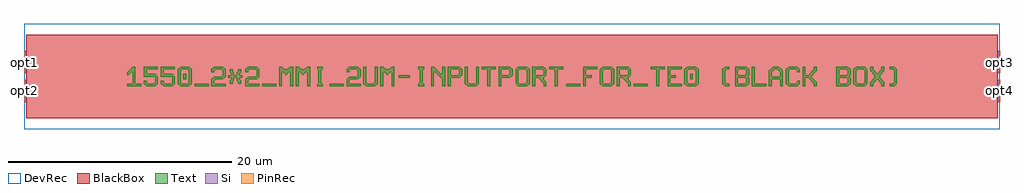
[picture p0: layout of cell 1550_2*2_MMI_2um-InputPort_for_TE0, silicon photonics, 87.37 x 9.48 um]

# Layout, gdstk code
import gdstk
lib = gdstk.Library(unit=1e-6, precision=1e-09)
def R(c, l, rs):  # rectangles x0, y0, x1, y1
    for r in rs: c.add(gdstk.rectangle(r[:2], r[2:], *l))
def A(c, l, x, y, w, h, nx, ny, dx, dy):  # array of equal rectangles
    R(c, l, [(x+i*dx, y+j*dy, x+i*dx+w, y+j*dy+h) for i in range(nx) for j in range(ny)])
def P(c, l, *ps):  # polygons
    for p in ps: c.add(gdstk.Polygon(p, *l))
Si = (1, 0)
PinRec = (1, 10)
Text = (10, 0)
DevRec = (68, 0)
BlackBox = (998, 0)

text = lib.new_cell('TEXT')
A(text, Text, 6.048, 0, 1.26, 0.252, 3, 1, 6.048, 0)
R(text, Text, [(39.312,0,40.572,0.252), (45.36,0,46.62,0.252), (5.04,0.63,5.292,1.134), (50.4,0.63,50.652,1.134), (24.318,0.756,25.326,1.008)])
P(text, Text, [(0,0),(0,0.252),(0.504,0.252),(0.504,1.26),(0.378,1.26),(0.126,1.008),(0,1.008),(0,1.26),(0.504,1.764),(0.756,1.764),(0.756,0.252),(1.26,0.252),(1.26,0)],
  [(1.764,0),(1.512,0.252),(1.512,0.504),(1.764,0.504),(1.764,0.378),(1.89,0.252),(2.394,0.252),(2.52,0.378),(2.52,0.756),(2.394,0.882),(1.512,0.882),(1.512,1.764),(2.772,1.764),(2.772,1.512),(1.764,1.512),(1.764,1.134),(2.52,1.134),(2.772,0.882),(2.772,0.252),(2.52,0)],
  [(3.276,0),(3.024,0.252),(3.024,0.504),(3.276,0.504),(3.276,0.378),(3.402,0.252),(3.906,0.252),(4.032,0.378),(4.032,0.756),(3.906,0.882),(3.024,0.882),(3.024,1.764),(4.284,1.764),(4.284,1.512),(3.276,1.512),(3.276,1.134),(4.032,1.134),(4.284,0.882),(4.284,0.252),(4.032,0)],
  [(4.788,0),(4.536,0.252),(4.536,1.512),(4.788,1.764),(5.544,1.764),(5.796,1.512),(4.914,1.512),(4.788,1.386),(4.788,0.378),(4.914,0.252),(5.418,0.252),(5.544,0.378),(5.544,1.386),(5.418,1.512),(5.796,1.512),(5.796,0.252),(5.544,0)],
  [(7.56,0),(7.56,0.63),(7.812,0.882),(8.442,0.882),(8.568,1.008),(8.568,1.386),(8.442,1.512),(7.938,1.512),(7.812,1.386),(7.812,1.26),(7.56,1.26),(7.56,1.512),(7.812,1.764),(8.568,1.764),(8.82,1.512),(8.82,0.882),(8.568,0.63),(7.938,0.63),(7.812,0.504),(7.812,0.252),(8.82,0.252),(8.82,0)],
  [(9.198,0.252),(9.198,0.504),(9.324,0.63),(9.324,0.756),(9.072,0.756),(9.072,1.008),(9.324,1.008),(9.324,1.134),(9.198,1.26),(9.198,1.512),(9.45,1.512),(9.45,1.386),(9.576,1.26),(9.576,1.008),(9.828,1.008),(9.828,1.26),(9.954,1.386),(9.954,1.512),(10.206,1.512),(10.206,1.26),(10.08,1.134),(10.08,1.008),(10.332,1.008),(10.332,0.756),(10.08,0.756),(10.08,0.63),(10.206,0.504),(10.206,0.252),(9.954,0.252),(9.954,0.378),(9.828,0.504),(9.828,0.756),(9.576,0.756),(9.576,0.504),(9.45,0.378),(9.45,0.252)],
  [(10.584,0),(10.584,0.63),(10.836,0.882),(11.466,0.882),(11.592,1.008),(11.592,1.386),(11.466,1.512),(10.962,1.512),(10.836,1.386),(10.836,1.26),(10.584,1.26),(10.584,1.512),(10.836,1.764),(11.592,1.764),(11.844,1.512),(11.844,0.882),(11.592,0.63),(10.962,0.63),(10.836,0.504),(10.836,0.252),(11.844,0.252),(11.844,0)],
  [(13.608,0),(13.608,1.764),(13.86,1.764),(14.112,1.512),(14.364,1.512),(14.616,1.764),(14.868,1.764),(14.868,0),(14.616,0),(14.616,1.26),(14.49,1.26),(14.238,1.008),(13.986,1.26),(13.86,1.26),(13.86,0)],
  [(15.12,0),(15.12,1.764),(15.372,1.764),(15.624,1.512),(15.876,1.512),(16.128,1.764),(16.38,1.764),(16.38,0),(16.128,0),(16.128,1.26),(16.002,1.26),(15.75,1.008),(15.498,1.26),(15.372,1.26),(15.372,0)],
  [(17.01,0),(17.01,0.252),(17.136,0.252),(17.136,1.512),(17.01,1.512),(17.01,1.764),(17.514,1.764),(17.514,1.512),(17.388,1.512),(17.388,0.252),(17.514,0.252),(17.514,0)],
  [(19.656,0),(19.656,0.63),(19.908,0.882),(20.538,0.882),(20.664,1.008),(20.664,1.386),(20.538,1.512),(20.034,1.512),(19.908,1.386),(19.908,1.26),(19.656,1.26),(19.656,1.512),(19.908,1.764),(20.664,1.764),(20.916,1.512),(20.916,0.882),(20.664,0.63),(20.034,0.63),(19.908,0.504),(19.908,0.252),(20.916,0.252),(20.916,0)],
  [(21.42,0),(21.168,0.252),(21.168,1.764),(21.42,1.764),(21.42,0.378),(21.546,0.252),(22.05,0.252),(22.176,0.378),(22.176,1.764),(22.428,1.764),(22.428,0.252),(22.176,0)],
  [(22.68,0),(22.68,1.764),(22.932,1.764),(23.184,1.512),(23.436,1.512),(23.688,1.764),(23.94,1.764),(23.94,0),(23.688,0),(23.688,1.26),(23.562,1.26),(23.31,1.008),(23.058,1.26),(22.932,1.26),(22.932,0)],
  [(26.082,0),(26.082,0.252),(26.208,0.252),(26.208,1.512),(26.082,1.512),(26.082,1.764),(26.586,1.764),(26.586,1.512),(26.46,1.512),(26.46,0.252),(26.586,0.252),(26.586,0)],
  [(27.216,0),(27.216,1.764),(27.468,1.764),(28.098,1.134),(28.224,1.134),(28.224,1.764),(28.476,1.764),(28.476,0),(28.224,0),(28.224,0.63),(27.594,1.26),(27.468,1.26),(27.468,0)],
  [(28.728,0),(28.728,1.764),(29.736,1.764),(29.988,1.512),(29.988,1.008),(29.736,0.756),(28.98,0.756),(28.98,1.008),(29.61,1.008),(29.736,1.134),(29.736,1.386),(29.61,1.512),(28.98,1.512),(28.98,0)],
  [(30.492,0),(30.24,0.252),(30.24,1.764),(30.492,1.764),(30.492,0.378),(30.618,0.252),(31.122,0.252),(31.248,0.378),(31.248,1.764),(31.5,1.764),(31.5,0.252),(31.248,0)],
  [(32.256,0),(32.256,1.512),(31.752,1.512),(31.752,1.764),(33.012,1.764),(33.012,1.512),(32.508,1.512),(32.508,0)],
  [(33.264,0),(33.264,1.764),(34.272,1.764),(34.524,1.512),(34.524,1.008),(34.272,0.756),(33.516,0.756),(33.516,1.008),(34.146,1.008),(34.272,1.134),(34.272,1.386),(34.146,1.512),(33.516,1.512),(33.516,0)],
  [(35.028,0),(34.776,0.252),(34.776,1.512),(35.028,1.764),(35.784,1.764),(36.036,1.512),(36.036,0.882),(35.784,0.882),(35.784,1.386),(35.658,1.512),(35.154,1.512),(35.028,1.386),(35.028,0.378),(35.154,0.252),(35.658,0.252),(35.784,0.378),(35.784,0.882),(36.036,0.882),(36.036,0.252),(35.784,0)],
  [(36.288,0),(36.288,1.764),(37.296,1.764),(37.548,1.512),(36.54,1.512),(36.54,1.008),(37.17,1.008),(37.296,1.134),(37.296,1.386),(37.17,1.512),(37.548,1.512),(37.548,1.008),(37.296,0.756),(37.296,0.63),(37.548,0.378),(37.548,0),(37.296,0),(37.296,0.252),(36.792,0.756),(36.54,0.756),(36.54,0)],
  [(38.304,0),(38.304,1.512),(37.8,1.512),(37.8,1.764),(39.06,1.764),(39.06,1.512),(38.556,1.512),(38.556,0)],
  [(40.824,0),(40.824,1.764),(42.084,1.764),(42.084,1.512),(41.076,1.512),(41.076,1.008),(41.58,1.008),(41.58,0.756),(41.076,0.756),(41.076,0)],
  [(42.588,0),(42.336,0.252),(42.336,1.512),(42.588,1.764),(43.344,1.764),(43.596,1.512),(43.596,0.882),(43.344,0.882),(43.344,1.386),(43.218,1.512),(42.714,1.512),(42.588,1.386),(42.588,0.378),(42.714,0.252),(43.218,0.252),(43.344,0.378),(43.344,0.882),(43.596,0.882),(43.596,0.252),(43.344,0)],
  [(43.848,0),(43.848,1.764),(44.856,1.764),(45.108,1.512),(44.1,1.512),(44.1,1.008),(44.73,1.008),(44.856,1.134),(44.856,1.386),(44.73,1.512),(45.108,1.512),(45.108,1.008),(44.856,0.756),(44.856,0.63),(45.108,0.378),(45.108,0),(44.856,0),(44.856,0.252),(44.352,0.756),(44.1,0.756),(44.1,0)],
  [(47.376,0),(47.376,1.512),(46.872,1.512),(46.872,1.764),(48.132,1.764),(48.132,1.512),(47.628,1.512),(47.628,0)],
  [(48.384,0),(48.384,1.764),(49.644,1.764),(49.644,1.512),(48.636,1.512),(48.636,1.008),(49.14,1.008),(49.14,0.756),(48.636,0.756),(48.636,0.252),(49.644,0.252),(49.644,0)],
  [(50.148,0),(49.896,0.252),(49.896,1.512),(50.148,1.764),(50.904,1.764),(51.156,1.512),(50.274,1.512),(50.148,1.386),(50.148,0.378),(50.274,0.252),(50.778,0.252),(50.904,0.378),(50.904,1.386),(50.778,1.512),(51.156,1.512),(51.156,0.252),(50.904,0)],
  [(53.55,0),(53.298,0.252),(53.298,1.512),(53.55,1.764),(53.928,1.764),(53.928,1.512),(53.676,1.512),(53.55,1.386),(53.55,0.378),(53.676,0.252),(53.928,0.252),(53.928,0)],
  [(54.432,0),(54.432,1.764),(55.44,1.764),(55.692,1.512),(54.684,1.512),(54.684,1.008),(55.314,1.008),(55.44,1.134),(55.44,1.386),(55.314,1.512),(55.692,1.512),(55.692,1.008),(55.566,0.882),(55.692,0.756),(54.684,0.756),(54.684,0.252),(55.314,0.252),(55.44,0.378),(55.44,0.63),(55.314,0.756),(55.692,0.756),(55.692,0.252),(55.44,0)],
  [(55.944,0),(55.944,1.764),(56.196,1.764),(56.196,0.252),(57.204,0.252),(57.204,0)],
  [(57.456,0),(57.456,1.386),(57.834,1.764),(58.338,1.764),(58.59,1.512),(57.96,1.512),(57.708,1.26),(57.708,0.882),(58.464,0.882),(58.464,1.26),(58.212,1.512),(58.59,1.512),(58.716,1.386),(58.716,0),(58.464,0),(58.464,0.63),(57.708,0.63),(57.708,0)],
  [(59.22,0),(58.968,0.252),(58.968,1.512),(59.22,1.764),(59.976,1.764),(60.228,1.512),(60.228,1.26),(59.976,1.26),(59.976,1.386),(59.85,1.512),(59.346,1.512),(59.22,1.386),(59.22,0.378),(59.346,0.252),(59.85,0.252),(59.976,0.378),(59.976,0.504),(60.228,0.504),(60.228,0.252),(59.976,0)],
  [(60.48,0),(60.48,1.764),(60.732,1.764),(60.732,1.008),(60.984,1.008),(61.488,1.512),(61.488,1.764),(61.74,1.764),(61.74,1.386),(61.236,0.882),(61.74,0.378),(61.74,0),(61.488,0),(61.488,0.252),(60.984,0.756),(60.732,0.756),(60.732,0)],
  [(63.504,0),(63.504,1.764),(64.512,1.764),(64.764,1.512),(63.756,1.512),(63.756,1.008),(64.386,1.008),(64.512,1.134),(64.512,1.386),(64.386,1.512),(64.764,1.512),(64.764,1.008),(64.638,0.882),(64.764,0.756),(63.756,0.756),(63.756,0.252),(64.386,0.252),(64.512,0.378),(64.512,0.63),(64.386,0.756),(64.764,0.756),(64.764,0.252),(64.512,0)],
  [(65.268,0),(65.016,0.252),(65.016,1.512),(65.268,1.764),(66.024,1.764),(66.276,1.512),(66.276,0.882),(66.024,0.882),(66.024,1.386),(65.898,1.512),(65.394,1.512),(65.268,1.386),(65.268,0.378),(65.394,0.252),(65.898,0.252),(66.024,0.378),(66.024,0.882),(66.276,0.882),(66.276,0.252),(66.024,0)],
  [(66.528,0),(66.528,0.378),(66.906,0.756),(66.906,1.008),(66.528,1.386),(66.528,1.764),(66.78,1.764),(66.78,1.512),(67.158,1.134),(67.536,1.512),(67.536,1.764),(67.788,1.764),(67.788,1.386),(67.41,1.008),(67.41,0.756),(67.788,0.378),(67.788,0),(67.536,0),(67.536,0.252),(67.158,0.63),(66.78,0.252),(66.78,0)],
  [(68.292,0),(68.292,0.252),(68.544,0.252),(68.67,0.378),(68.67,1.386),(68.544,1.512),(68.292,1.512),(68.292,1.764),(68.67,1.764),(68.922,1.512),(68.922,0.252),(68.67,0)])

c_1550_2_2_mmi_2um_inputpo = lib.new_cell('1550_2*2_MMI_2um-InputPort_for_TE0')
R(c_1550_2_2_mmi_2um_inputpo, Si, [(-43.673,-2.294,-43.473,-0.294), (43.473,-2.294,43.673,-0.294), (-43.673,0.294,-43.473,2.294), (43.473,0.294,43.673,2.294)])
R(c_1550_2_2_mmi_2um_inputpo, DevRec, [(-43.673,-4.74,43.673,4.74)])
R(c_1550_2_2_mmi_2um_inputpo, BlackBox, [(-43.473,-3.74,43.473,3.74)])
c_1550_2_2_mmi_2um_inputpo.add(gdstk.FlexPath([(-43.663,1.294),(-43.683,1.294)], 2, ends="flush", simple_path=True, layer=1, datatype=10))  # PinRec
c_1550_2_2_mmi_2um_inputpo.add(gdstk.FlexPath([(-43.663,-1.294),(-43.683,-1.294)], 2, ends="flush", simple_path=True, layer=1, datatype=10))  # PinRec
c_1550_2_2_mmi_2um_inputpo.add(gdstk.FlexPath([(43.663,1.294),(43.683,1.294)], 2, ends="flush", simple_path=True, layer=1, datatype=10))  # PinRec
c_1550_2_2_mmi_2um_inputpo.add(gdstk.FlexPath([(43.663,-1.294),(43.683,-1.294)], 2, ends="flush", simple_path=True, layer=1, datatype=10))  # PinRec
c_1550_2_2_mmi_2um_inputpo.add(gdstk.Reference(text, (-34.461,-0.882)))
c_1550_2_2_mmi_2um_inputpo.add(gdstk.Label('opt1', (-43.673,1.294), layer=1, texttype=10))
c_1550_2_2_mmi_2um_inputpo.add(gdstk.Label('opt2', (-43.673,-1.294), layer=1, texttype=10))
c_1550_2_2_mmi_2um_inputpo.add(gdstk.Label('opt3', (43.673,1.294), layer=1, texttype=10))
c_1550_2_2_mmi_2um_inputpo.add(gdstk.Label('opt4', (43.673,-1.294), layer=1, texttype=10))

lib.write_gds('1550_2_2_MMI_2um-InputPort_for_TE0.gds')
